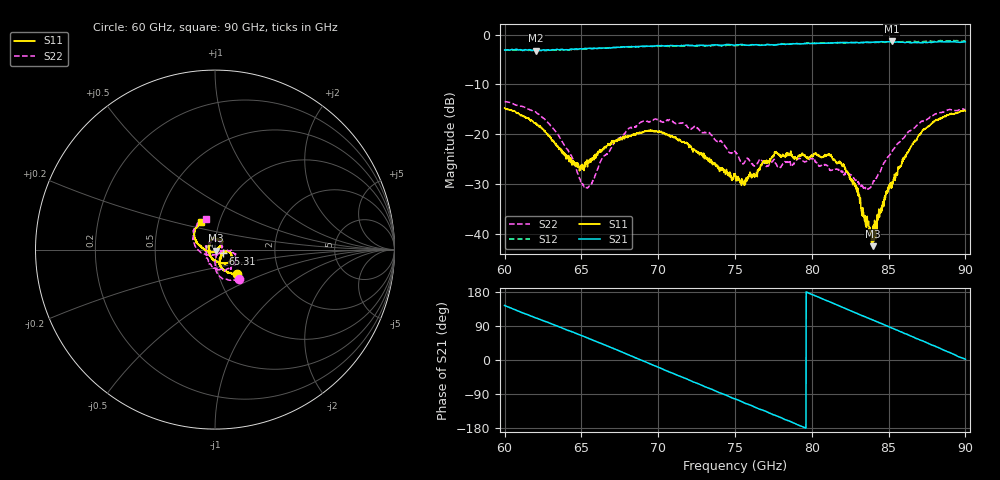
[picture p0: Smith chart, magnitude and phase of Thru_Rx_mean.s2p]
!Keysight Technologies,N5242A,MY56023178,A.10.60.03
!Date: Tuesday, August 25, 2020 09:26:59
!Correction: S11(Full 2 Port(1,2))
!S21(Full 2 Port(1,2))
!S12(Full 2 Port(1,2))
!S22(Full 2 Port(1,2))
!S2P File: Measurements: S11, S21, S12, S22:
# Hz S  dB  R 50
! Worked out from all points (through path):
!   2001 points, 60 GHz to 90 GHz, reference 50 ohm
!   highest |S21| = -1.37 dB at 85.2 GHz (marker M1); lowest = -3.2 dB at 62.05 GHz (marker M2)
!   lowest |S11| = -42.5 dB at 83.95 GHz (marker M3), VSWR 1.02, Z = 50.4 - j0.633 ohm
!   |S11| at or under -10 dB: start of sweep to end of sweep
!   |S22| runs from -31.0 to -13.5 dB; largest |S21 - S12| = 0.055
!   S11 on the Smith chart (normalised r, x): 60 GHz: 1.23, -0.34; 65.31 GHz: 1.09, -0.05; 90 GHz: 0.82, +0.26
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6e10  -14.75 -47.6  -3.10 143.8  -3.13 142.5  -13.46 -51.6
6.2055e10  -17.79 -66.6  -3.20 110.8  -3.25 110.0  -15.63 -76.5
6.351e10  -22.57 -67.6  -3.02 88.1  -3.08 86.8  -20.28 -89.0
6.501e10  -26.99 -34.3  -2.89 64.5  -2.96 63.2  -29.54 -74.0
6.531e10  -26.06 -25.5  -2.80 59.7  -2.92 58.3  -30.71 -44.0
6.729e10  -21.19 -12.4  -2.58 27.1  -2.57 26.2  -21.11 -3.3
7.0005e10  -19.51 -41.8  -2.25 -19.0  -2.36 -19.9  -17.17 -38.7
7.2825e10  -23.97 -84.8  -2.13 -66.5  -2.21 -67.8  -19.61 -86.0
7.5e10  -27.98 -160.4  -2.12 -102.7  -2.24 -103.8  -23.43 -141.8
7.554e10  -29.90 179.9  -2.06 -112.0  -2.06 -114.2  -25.94 -163.7
7.761e10  -23.58 106.1  -2.12 -145.9  -2.06 -147.2  -25.82 126.5
7.803e10  -24.29 99.1  -1.97 -152.5  -1.81 -154.6  -26.37 107.6
8.001e10  -24.24 64.8  -1.77 172.8  -1.75 171.8  -24.91 59.5
8.2005e10  -26.11 38.2  -1.57 138.8  -1.64 137.3  -27.43 14.9
8.286e10  -30.48 26.6  -1.60 124.2  -1.61 122.8  -29.28 -26.4
8.337e10  -35.72 25.0  -1.61 115.4  -1.60 114.6  -30.73 -58.8
8.3955e10  -42.52 -57.1  -1.54 105.9  -1.58 104.0  -30.02 -107.9
8.5005e10  -31.11 -149.5  -1.45 87.9  -1.50 85.3  -24.43 -154.0
8.52e10  -30.32 -161.6  -1.37 84.6  -1.51 82.0  -23.63 -158.8
8.724e10  -19.14 160.1  -1.62 50.1  -1.40 47.6  -17.45 153.8
8.847e10  -16.82 142.4  -1.46 28.0  -1.21 26.4  -15.62 130.7
9e10  -15.33 116.4  -1.45 2.0  -1.24 0.1  -15.09 107.4
